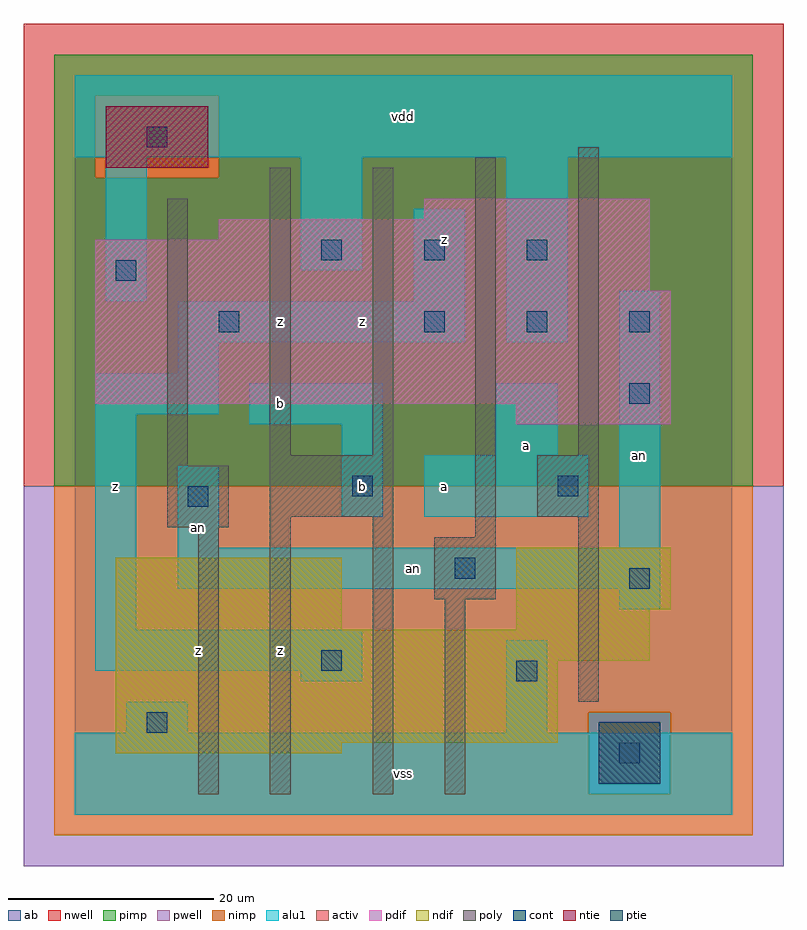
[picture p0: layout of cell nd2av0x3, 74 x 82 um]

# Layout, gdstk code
import gdstk
lib = gdstk.Library(unit=1e-6, precision=1e-09)
def R(c, l, rs):  # rectangles x0, y0, x1, y1
    for r in rs: c.add(gdstk.rectangle(r[:2], r[2:], *l))
def A(c, l, x, y, w, h, nx, ny, dx, dy):  # array of equal rectangles
    R(c, l, [(x+i*dx, y+j*dy, x+i*dx+w, y+j*dy+h) for i in range(nx) for j in range(ny)])
ndif = (3, 0)
pdif = (4, 0)
ntie = (5, 0)
ptie = (6, 0)
cont = (25, 0)
pwell = (41, 0)
nwell = (42, 0)
activ = (43, 0)
pimp = (44, 0)
nimp = (45, 0)
poly = (46, 0)
alu1 = (49, 0)
ab = (63, 0)

nd2av0x3 = lib.new_cell('nd2av0x3')
R(nd2av0x3, ndif, [(4,6,26,7), (4,7,47,15), (4,15,56,18), (4,18,26,25), (43,18,56,20), (43,20,58,26)])
R(nd2av0x3, pdif, [(43,38,58,40), (2,40,58,51), (2,51,56,56), (14,56,56,58), (34,58,56,60)])
R(nd2av0x3, ntie, [(3,63,13,69)])
R(nd2av0x3, ptie, [(51,3,57,9)])
A(nd2av0x3, cont, 34, 47, 2, 2, 3, 1, 10, 0)
A(nd2av0x3, cont, 24, 54, 2, 2, 3, 1, 10, 0)
R(nd2av0x3, cont, [(53,5,55,7), (7,8,9,10), (43,13,45,15), (24,14,26,16), (54,22,56,24), (37,23,39,25), (11,30,13,32), (27,31,29,33), (47,31,49,33), (54,40,56,42), (14,47,16,49), (4,52,6,54), (7,65,9,67)])
R(nd2av0x3, pwell, [(-5,-5,69,32)])
R(nd2av0x3, nwell, [(-5,32,69,77)])
R(nd2av0x3, activ, [(51,3,57,9), (4,6,26,7), (4,7,47,15), (4,15,56,18), (4,18,26,25), (43,18,56,20), (43,20,58,26), (43,38,58,40), (2,40,58,51), (2,51,56,56), (14,56,56,58), (34,58,56,60), (3,63,13,69)])
R(nd2av0x3, pimp, [(50,2,58,10), (-2,32,66,62), (-2,62,2,70), (14,62,66,70), (-2,70,66,74)])
R(nd2av0x3, nimp, [(-2,-2,66,2), (-2,2,50,10), (58,2,66,10), (-2,10,66,32), (2,62,14,70)])
R(nd2av0x3, poly, [(12,2,14,28), (19,2,21,29), (29,2,31,29), (36,2,38,21), (49,11,51,29), (35,21,41,27), (39,27,41,64), (9,28,15,34), (19,29,31,35), (45,29,51,35), (9,34,11,60), (19,35,21,63), (29,35,31,63), (49,35,51,65)])
R(nd2av0x3, alu1, [(0,0,64,8), (5,8,11,11), (42,8,46,17), (22,13,28,14), (2,14,28,18), (2,18,6,39), (53,20,57,22), (10,22,57,26), (10,26,14,34), (53,26,57,51), (26,29,30,38), (34,29,50,35), (41,35,47,42), (17,38,30,42), (2,39,14,43), (10,43,14,46), (10,46,38,50), (42,46,48,64), (3,50,7,64), (33,50,38,59), (22,53,28,64), (0,64,64,72)])
R(nd2av0x3, ab, [(0,0,64,72)])
nd2av0x3.add(gdstk.Label('an', (12,28), layer=49, texttype=0))
nd2av0x3.add(gdstk.Label('an', (33,24), layer=49, texttype=0))
nd2av0x3.add(gdstk.Label('an', (55,35), layer=49, texttype=0))
nd2av0x3.add(gdstk.Label('z', (12,16), layer=49, texttype=0))
nd2av0x3.add(gdstk.Label('z', (4,32), layer=49, texttype=0))
nd2av0x3.add(gdstk.Label('z', (20,16), layer=49, texttype=0))
nd2av0x3.add(gdstk.Label('b', (28,32), layer=49, texttype=0))
nd2av0x3.add(gdstk.Label('b', (20,40), layer=49, texttype=0))
nd2av0x3.add(gdstk.Label('z', (20,48), layer=49, texttype=0))
nd2av0x3.add(gdstk.Label('z', (28,48), layer=49, texttype=0))
nd2av0x3.add(gdstk.Label('vss', (32,4), layer=49, texttype=0))
nd2av0x3.add(gdstk.Label('a', (36,32), layer=49, texttype=0))
nd2av0x3.add(gdstk.Label('a', (44,36), layer=49, texttype=0))
nd2av0x3.add(gdstk.Label('z', (36,56), layer=49, texttype=0))
nd2av0x3.add(gdstk.Label('vdd', (32,68), layer=49, texttype=0))

lib.write_gds('nd2av0x3.gds')
